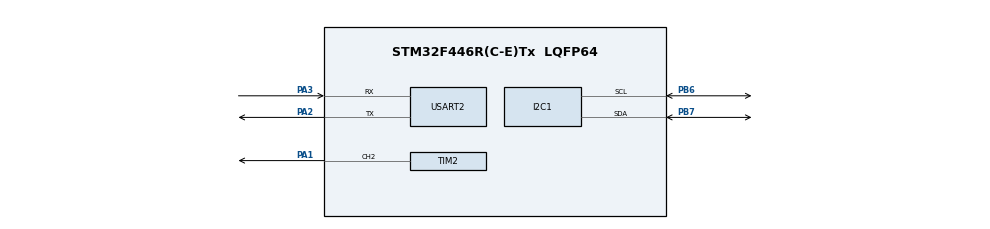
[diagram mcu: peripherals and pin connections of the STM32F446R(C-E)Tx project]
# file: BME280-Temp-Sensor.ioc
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Mcu.Family=STM32F4
Mcu.Name=STM32F446R(C-E)Tx
Mcu.Package=LQFP64
NVIC.PriorityGroup=NVIC_PRIORITYGROUP_4
PA1.Signal=S_TIM2_CH2
PA13.Mode=Serial_Wire
PA13.Signal=SYS_JTMS-SWDIO
PA14.Mode=Serial_Wire
PA14.Signal=SYS_JTCK-SWCLK
PA2.Mode=Asynchronous
PA2.Signal=USART2_TX
PA3.Mode=Asynchronous
PA3.Signal=USART2_RX
PB6.Mode=I2C
PB6.Signal=I2C1_SCL
PB7.Mode=I2C
PB7.Signal=I2C1_SDA
ProjectManager.HeapSize=0x200
ProjectManager.StackSize=0x400
ProjectManager.TargetToolchain=STM32CubeIDE
RCC.CortexFreq_Value=16000000
RCC.USBFreq_Value=96000000
RCC.VCOOutputFreq_Value=192000000
SH.S_TIM2_CH2.0=TIM2_CH2,PWM Generation2 CH2
TIM2.Channel-PWM\ Generation2\ CH2=TIM_CHANNEL_2
TIM2.Period=499
TIM2.Prescaler=15
TIM2.Pulse-PWM\ Generation2\ CH2=250
USART2.VirtualMode=VM_ASYNC
VP_TIM2_VS_ClockSourceINT.Mode=Internal
board=custom

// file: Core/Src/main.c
/* USER CODE BEGIN Header */
/**
  ******************************************************************************
  * @file           : main.c
  * @brief          : Main program body
  ******************************************************************************
  * @attention
  *
  * Copyright (c) 2026 STMicroelectronics.
  * All rights reserved.
  *
  * This software is licensed under terms that can be found in the LICENSE file
  * in the root directory of this software component.
  * If no LICENSE file comes with this software, it is provided AS-IS.
  *
  ******************************************************************************
  */
/* USER CODE END Header */
#include "main.h"

/* USER CODE BEGIN Includes */
#include <stdio.h>
#include <stdlib.h>
#include <string.h>
/* USER CODE END Includes */

/* USER CODE BEGIN PD */
#define BME_ADDR (0x76 << 1)
#define ALARM_DELTA  300   /* 1.00 C sapmada alarm */
#define ALARM_OFF    100
/* USER CODE END PD */

I2C_HandleTypeDef hi2c1;

TIM_HandleTypeDef htim2;

UART_HandleTypeDef huart2;

/* USER CODE BEGIN PV */
static uint16_t dig_T1, dig_P1;
static int16_t  dig_T2, dig_T3;
static int16_t  dig_P2, dig_P3, dig_P4, dig_P5, dig_P6, dig_P7, dig_P8, dig_P9;
static uint8_t  dig_H1, dig_H3;
static int16_t  dig_H2, dig_H4, dig_H5;
static int8_t   dig_H6;
static int32_t  t_fine;
uint8_t chip_id = 0;
char msg[96];
int32_t base_temp = 0;
uint8_t alarm_on = 0;
/* USER CODE END PV */

void SystemClock_Config(void);
static void MX_GPIO_Init(void);
static void MX_I2C1_Init(void);
static void MX_USART2_UART_Init(void);
static void MX_TIM2_Init(void);

/* USER CODE BEGIN 0 */
static HAL_StatusTypeDef bme_read(uint8_t reg, uint8_t *buf, uint16_t len)
{
  return HAL_I2C_Mem_Read(&hi2c1, BME_ADDR, reg, I2C_MEMADD_SIZE_8BIT, buf, len, 100);
}

static HAL_StatusTypeDef bme_write(uint8_t reg, uint8_t val)
{
  return HAL_I2C_Mem_Write(&hi2c1, BME_ADDR, reg, I2C_MEMADD_SIZE_8BIT, &val, 1, 100);
}

static void bme_read_calibration(void)
{
  uint8_t c[26], h[7];

  bme_read(0x88, c, 26);
  dig_T1 = (c[1] << 8) | c[0];
  dig_T2 = (int16_t)((c[3] << 8) | c[2]);
  dig_T3 = (int16_t)((c[5] << 8) | c[4]);
  dig_P1 = (c[7] << 8) | c[6];
  dig_P2 = (int16_t)((c[9] << 8) | c[8]);
  dig_P3 = (int16_t)((c[11] << 8) | c[10]);
  dig_P4 = (int16_t)((c[13] << 8) | c[12]);
  dig_P5 = (int16_t)((c[15] << 8) | c[14]);
  dig_P6 = (int16_t)((c[17] << 8) | c[16]);
  dig_P7 = (int16_t)((c[19] << 8) | c[18]);
  dig_P8 = (int16_t)((c[21] << 8) | c[20]);
  dig_P9 = (int16_t)((c[23] << 8) | c[22]);
  dig_H1 = c[25];

  bme_read(0xE1, h, 7);
  dig_H2 = (int16_t)((h[1] << 8) | h[0]);
  dig_H3 = h[2];
  dig_H4 = (int16_t)(((int16_t)(int8_t)h[3] * 16) | (h[4] & 0x0F));
  dig_H5 = (int16_t)(((int16_t)(int8_t)h[5] * 16) | (h[4] >> 4));
  dig_H6 = (int8_t)h[6];
}

/* Sonuc: 0.01 derece C */
static int32_t comp_temp(int32_t adc_T)
{
  int32_t v1 = ((((adc_T >> 3) - ((int32_t)dig_T1 << 1))) * (int32_t)dig_T2) >> 11;
  int32_t v2 = (((((adc_T >> 4) - (int32_t)dig_T1) * ((adc_T >> 4) - (int32_t)dig_T1)) >> 12) * (int32_t)dig_T3) >> 14;
  t_fine = v1 + v2;
  return (t_fine * 5 + 128) >> 8;
}

/* Sonuc: Pa x 256 */
static uint32_t comp_press(int32_t adc_P)
{
  int64_t v1, v2, p;
  v1 = (int64_t)t_fine - 128000;
  v2 = v1 * v1 * (int64_t)dig_P6;
  v2 = v2 + ((v1 * (int64_t)dig_P5) << 17);
  v2 = v2 + (((int64_t)dig_P4) << 35);
  v1 = ((v1 * v1 * (int64_t)dig_P3) >> 8) + ((v1 * (int64_t)dig_P2) << 12);
  v1 = ((((int64_t)1 << 47) + v1) * (int64_t)dig_P1) >> 33;
  if (v1 == 0) return 0;
  p = 1048576 - adc_P;
  p = (((p << 31) - v2) * 3125) / v1;
  v1 = ((int64_t)dig_P9 * (p >> 13) * (p >> 13)) >> 25;
  v2 = ((int64_t)dig_P8 * p) >> 19;
  p = ((p + v1 + v2) >> 8) + ((int64_t)dig_P7 << 4);
  return (uint32_t)p;
}

/* Sonuc: %RH x 1024 */
static uint32_t comp_hum(int32_t adc_H)
{
  int32_t v = t_fine - 76800;
  v = (((((adc_H << 14) - ((int32_t)dig_H4 << 20) - ((int32_t)dig_H5 * v)) + 16384) >> 15) *
       (((((((v * (int32_t)dig_H6) >> 10) * (((v * (int32_t)dig_H3) >> 11) + 32768)) >> 10) + 2097152) *
         (int32_t)dig_H2 + 8192) >> 14));
  v = v - (((((v >> 15) * (v >> 15)) >> 7) * (int32_t)dig_H1) >> 4);
  if (v < 0) v = 0;
  if (v > 419430400) v = 419430400;
  return (uint32_t)(v >> 12);
}

static int bme_measure(int32_t *t, uint32_t *p, uint32_t *h)
{
  uint8_t d[8];
  if (bme_read(0xF7, d, 8) != HAL_OK) return 0;

  int32_t adc_P = ((int32_t)d[0] << 12) | ((int32_t)d[1] << 4) | (d[2] >> 4);
  int32_t adc_T = ((int32_t)d[3] << 12) | ((int32_t)d[4] << 4) | (d[5] >> 4);
  int32_t adc_H = ((int32_t)d[6] << 8) | d[7];

  *t = comp_temp(adc_T);            /* once sicaklik: t_fine buradan gelir */
  *p = comp_press(adc_P) / 256;
  *h = comp_hum(adc_H) / 1024;
  return 1;
}
/* USER CODE END 0 */

int main(void)
{

  /* MCU Configuration--------------------------------------------------------*/

  /* Reset of all peripherals, Initializes the Flash interface and the Systick. */
  HAL_Init();

  /* Configure the system clock */
  SystemClock_Config();

  /* Initialize all configured peripherals */
  MX_GPIO_Init();
  MX_I2C1_Init();
  MX_USART2_UART_Init();
  MX_TIM2_Init();
  /* USER CODE BEGIN 2 */
  if (bme_read(0xD0, &chip_id, 1) != HAL_OK || (chip_id != 0x60 && chip_id != 0x58))
  {
    snprintf(msg, sizeof(msg), "Sensor bulunamadi! (adres/baglanti kontrol et)\r\n");
    HAL_UART_Transmit(&huart2, (uint8_t*)msg, strlen(msg), 100);
    while (1);
  }

  bme_read_calibration();
  if (chip_id == 0x60) bme_write(0xF2, 0x01);
  bme_write(0xF5, 0x60);                       /* 250 ms bekleme */
  bme_write(0xF4, 0x27);
  HAL_Delay(300);

  /* Baslangic sicakligi: 8 olcumun ortalamasi (yaklasik 2 sn) */
  {
    int32_t sum = 0, t;
    uint32_t p, h;
    int count = 0;
    for (int i = 0; i < 8; i++)
    {
      HAL_Delay(250);
      if (bme_measure(&t, &p, &h)) { sum += t; count++; }
    }
    if (count > 0) base_temp = sum / count;
    snprintf(msg, sizeof(msg), "Baslangic sicakligi: %ld.%02ld C\r\n",
             (long)(base_temp / 100), (long)abs(base_temp % 100));
    HAL_UART_Transmit(&huart2, (uint8_t*)msg, strlen(msg), 100);
  }
  __HAL_RCC_GPIOC_CLK_ENABLE();
    GPIO_InitTypeDef gpio = {0};
    gpio.Pin = GPIO_PIN_13;
    gpio.Mode = GPIO_MODE_INPUT;
    gpio.Pull = GPIO_NOPULL;   /* kartta harici pull-up var */
    HAL_GPIO_Init(GPIOC, &gpio);
  /* USER CODE END 2 */

  /* Infinite loop */
  while (1)
  {

    /* USER CODE BEGIN 3 */
	  int32_t t;
	  uint32_t p, h;
	  if (bme_measure(&t, &p, &h))
	  {
	    /* Mavi buton: yeni baslangic sicakligi */
		if (HAL_GPIO_ReadPin(GPIOC, GPIO_PIN_13) == GPIO_PIN_RESET)
	    {
	      base_temp = t;
	      if (alarm_on) { alarm_on = 0; HAL_TIM_PWM_Stop(&htim2, TIM_CHANNEL_2); }
	    }

	    int32_t diff = t - base_temp;

	    if (!alarm_on && abs(diff) >= ALARM_DELTA)
	    {
	      alarm_on = 1;
	      HAL_TIM_PWM_Start(&htim2, TIM_CHANNEL_2);
	    }
	    else if (alarm_on && abs(diff) <= ALARM_OFF)
	    {
	      alarm_on = 0;
	      HAL_TIM_PWM_Stop(&htim2, TIM_CHANNEL_2);
	    }

	    snprintf(msg, sizeof(msg), "T: %ld.%02ld C | Fark: %c%ld.%02ld C | %s\r\n",
	             (long)(t / 100), (long)abs(t % 100),
	             diff < 0 ? '-' : '+', (long)(abs(diff) / 100), (long)(abs(diff) % 100),
	             alarm_on ? "ALARM" : "normal");
	    HAL_UART_Transmit(&huart2, (uint8_t*)msg, strlen(msg), 100);
	  }
	  HAL_Delay(250);
  }
  /* USER CODE END 3 */
}

void SystemClock_Config(void)
{
  RCC_OscInitTypeDef RCC_OscInitStruct = {0};
  RCC_ClkInitTypeDef RCC_ClkInitStruct = {0};

  /** Configure the main internal regulator output voltage
  */
  __HAL_RCC_PWR_CLK_ENABLE();
  __HAL_PWR_VOLTAGESCALING_CONFIG(PWR_REGULATOR_VOLTAGE_SCALE3);

  /** Initializes the RCC Oscillators according to the specified parameters
  * in the RCC_OscInitTypeDef structure.
  */
  RCC_OscInitStruct.OscillatorType = RCC_OSCILLATORTYPE_HSI;
  RCC_OscInitStruct.HSIState = RCC_HSI_ON;
  RCC_OscInitStruct.HSICalibrationValue = RCC_HSICALIBRATION_DEFAULT;
  RCC_OscInitStruct.PLL.PLLState = RCC_PLL_NONE;
  if (HAL_RCC_OscConfig(&RCC_OscInitStruct) != HAL_OK)
  {
    Error_Handler();
  }

  /** Initializes the CPU, AHB and APB buses clocks
  */
  RCC_ClkInitStruct.ClockType = RCC_CLOCKTYPE_HCLK|RCC_CLOCKTYPE_SYSCLK
                              |RCC_CLOCKTYPE_PCLK1|RCC_CLOCKTYPE_PCLK2;
  RCC_ClkInitStruct.SYSCLKSource = RCC_SYSCLKSOURCE_HSI;
  RCC_ClkInitStruct.AHBCLKDivider = RCC_SYSCLK_DIV1;
  RCC_ClkInitStruct.APB1CLKDivider = RCC_HCLK_DIV1;
  RCC_ClkInitStruct.APB2CLKDivider = RCC_HCLK_DIV1;

  if (HAL_RCC_ClockConfig(&RCC_ClkInitStruct, FLASH_LATENCY_0) != HAL_OK)
  {
    Error_Handler();
  }
}

static void MX_I2C1_Init(void)
{

  hi2c1.Instance = I2C1;
  hi2c1.Init.ClockSpeed = 100000;
  hi2c1.Init.DutyCycle = I2C_DUTYCYCLE_2;
  hi2c1.Init.OwnAddress1 = 0;
  hi2c1.Init.AddressingMode = I2C_ADDRESSINGMODE_7BIT;
  hi2c1.Init.DualAddressMode = I2C_DUALADDRESS_DISABLE;
  hi2c1.Init.OwnAddress2 = 0;
  hi2c1.Init.GeneralCallMode = I2C_GENERALCALL_DISABLE;
  hi2c1.Init.NoStretchMode = I2C_NOSTRETCH_DISABLE;
  if (HAL_I2C_Init(&hi2c1) != HAL_OK)
  {
    Error_Handler();
  }

}

static void MX_TIM2_Init(void)
{

  TIM_ClockConfigTypeDef sClockSourceConfig = {0};
  TIM_MasterConfigTypeDef sMasterConfig = {0};
  TIM_OC_InitTypeDef sConfigOC = {0};

  htim2.Instance = TIM2;
  htim2.Init.Prescaler = 15;
  htim2.Init.CounterMode = TIM_COUNTERMODE_UP;
  htim2.Init.Period = 499;
  htim2.Init.ClockDivision = TIM_CLOCKDIVISION_DIV1;
  htim2.Init.AutoReloadPreload = TIM_AUTORELOAD_PRELOAD_DISABLE;
  if (HAL_TIM_Base_Init(&htim2) != HAL_OK)
  {
    Error_Handler();
  }
  sClockSourceConfig.ClockSource = TIM_CLOCKSOURCE_INTERNAL;
  if (HAL_TIM_ConfigClockSource(&htim2, &sClockSourceConfig) != HAL_OK)
  {
    Error_Handler();
  }
  if (HAL_TIM_PWM_Init(&htim2) != HAL_OK)
  {
    Error_Handler();
  }
  sMasterConfig.MasterOutputTrigger = TIM_TRGO_RESET;
  sMasterConfig.MasterSlaveMode = TIM_MASTERSLAVEMODE_DISABLE;
  if (HAL_TIMEx_MasterConfigSynchronization(&htim2, &sMasterConfig) != HAL_OK)
  {
    Error_Handler();
  }
  sConfigOC.OCMode = TIM_OCMODE_PWM1;
  sConfigOC.Pulse = 250;
  sConfigOC.OCPolarity = TIM_OCPOLARITY_HIGH;
  sConfigOC.OCFastMode = TIM_OCFAST_DISABLE;
  if (HAL_TIM_PWM_ConfigChannel(&htim2, &sConfigOC, TIM_CHANNEL_2) != HAL_OK)
  {
    Error_Handler();
  }
  HAL_TIM_MspPostInit(&htim2);

}

static void MX_USART2_UART_Init(void)
{

  huart2.Instance = USART2;
  huart2.Init.BaudRate = 115200;
  huart2.Init.WordLength = UART_WORDLENGTH_8B;
  huart2.Init.StopBits = UART_STOPBITS_1;
  huart2.Init.Parity = UART_PARITY_NONE;
  huart2.Init.Mode = UART_MODE_TX_RX;
  huart2.Init.HwFlowCtl = UART_HWCONTROL_NONE;
  huart2.Init.OverSampling = UART_OVERSAMPLING_16;
  if (HAL_UART_Init(&huart2) != HAL_OK)
  {
    Error_Handler();
  }

}

static void MX_GPIO_Init(void)
{

  /* GPIO Ports Clock Enable */
  __HAL_RCC_GPIOA_CLK_ENABLE();
  __HAL_RCC_GPIOB_CLK_ENABLE();

}

void Error_Handler(void)
{
  __disable_irq();
  while (1)
  {
  }
}
